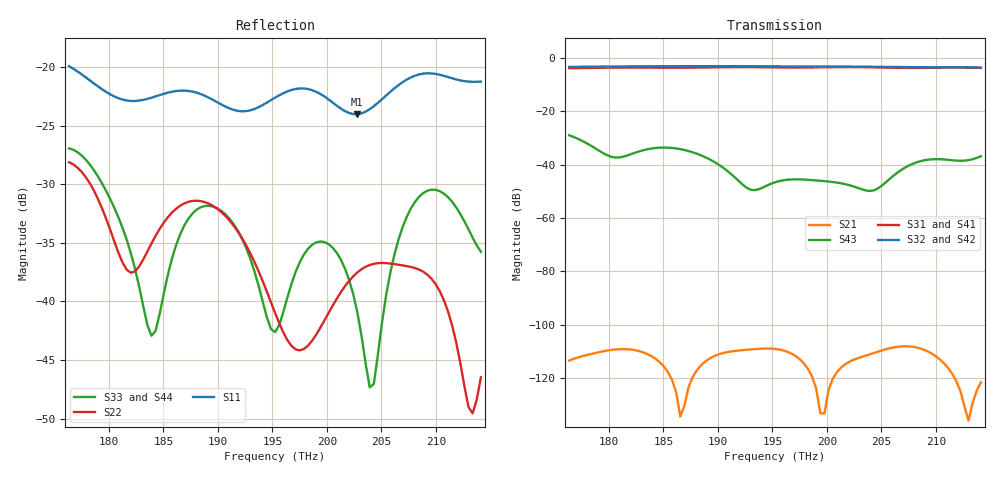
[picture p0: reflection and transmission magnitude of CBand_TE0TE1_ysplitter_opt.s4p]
! Ansys Lumerical
! Created: Fri Oct 7 00:58:56 2022
! Project File: C:/Users/jev1/Documents/GitHub/OTDR/PRL_PDK/CBand_TE0TE1_ysplitter_opt/Simulations/FDTD_SPara(run).fsp
! Touchstone File Format: Version 1.0
! Two-Port Data Order: 21_12
# HZ S MA R 50.00
! Optical Port List
! Port[0] = {"port 1","TE0",1,"LEFT"}
! Port[1] = {"port 1","TE1",2,"LEFT"}
! Port[2] = {"port 2","TE0",1,"RIGHT"}
! Port[3] = {"port 3","TE0",1,"RIGHT"}
! FREQ  AMP  PHASE  AMP  PHASE  AMP  PHASE  AMP  PHASE
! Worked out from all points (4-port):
!   101 points, 176.3 THz to 214.1 THz, reference 50 ohm
!   strongest paths, dB at 176.3 THz, 185.8 THz, 195.2 THz, 204.7 THz, 214.1 THz:
!     S32: -3.4, -3.2, -3.2, -3.4, -3.6
!     S42: -3.4, -3.2, -3.2, -3.4, -3.6
!     S31: -3.9, -3.7, -3.6, -3.6, -3.8
!     S41: -3.9, -3.7, -3.6, -3.6, -3.8
!     S43: -29.0, -33.8, -46.6, -48.9, -36.9
!     S21: -113.4, -120.7, -109.0, -110.1, -121.6
!   lowest |S11| = -24.0 dB at 202.8 THz (marker M1), VSWR 1.13, Z = 54.9 - j4.44 ohm
!   |S11| at or under -10 dB: start of sweep to end of sweep
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1.763485e14  0.1011 9.7  2.006e-06 -107.1  0.6392 36.8  0.6392 36.8
             2.133e-06 -104.1  0.03931 -173.0  0.6772 112.1  0.6772 -67.9
             0.638 36.6  0.6759 111.9  0.04504 -169.1  0.03546 65.6
             0.638 36.6  0.6759 -68.1  0.03546 65.6  0.04504 -169.1
1.839063e14  0.07413 203.1  2.752e-06 -19.3  0.6549 144.9  0.6549 144.9
             2.587e-06 -19.7  0.01768 77.3  0.6945 225.0  0.6945 45.0
             0.653 144.8  0.6932 225.0  0.007139 -147.7  0.02001 345.2
             0.653 144.8  0.6932 45.0  0.02001 345.2  0.00714 -147.7
1.865515e14  0.07946 274.1  2.723e-07 16.1  0.6531 182.0  0.6531 182.0
             1.923e-07 -20.6  0.02565 140.3  0.6967 264.7  0.6967 84.7
             0.6517 181.9  0.6954 264.7  0.0194 -178.7  0.01948 410.1
             0.6517 181.9  0.6954 84.7  0.01948 410.1  0.0194 -178.7
1.937314e14  0.06753 447.6  3.76e-06 -56.2  0.6679 284.8  0.6679 284.8
             3.549e-06 -53.8  0.01347 297.1  0.6947 372.2  0.6947 192.2
             0.6662 284.8  0.6933 372.3  0.01169 -98.7  0.003449 666.5
             0.6662 284.8  0.6933 192.3  0.003449 666.5  0.01169 -98.7
2.028008e14  0.06302 680.3  2.414e-06 267.6  0.6703 414.4  0.6703 414.4
             2.352e-06 271.1  0.0133 569.3  0.6828 507.0  0.6828 327.0
             0.6689 414.3  0.6813 507.0  0.008972 -37.6  0.003685 966.3
             0.6689 414.3  0.6813 327.0  0.003685 966.3  0.008972 -37.6
2.092249e14  0.09424 860.6  3.329e-06 357.1  0.6509 505.1  0.6509 505.1
             3.202e-06 356.3  0.01301 695.9  0.6687 601.8  0.6687 421.8
             0.6483 505.1  0.6663 601.8  0.02969 248.3  0.0123 1035.8
             0.6483 505.1  0.6663 421.8  0.0123 1035.8  0.0297 248.3
2.141375e14  0.08685 977.3  8.223e-07 253.0  0.6466 576.9  0.6466 576.9
             8.335e-07 258.2  0.004739 912.1  0.6591 674.1  0.6591 494.1
             0.6464 576.7  0.6579 674.1  0.0163 402.9  0.01433 1224.2
             0.6464 576.7  0.6579 494.1  0.01433 1224.2  0.0163 402.9
